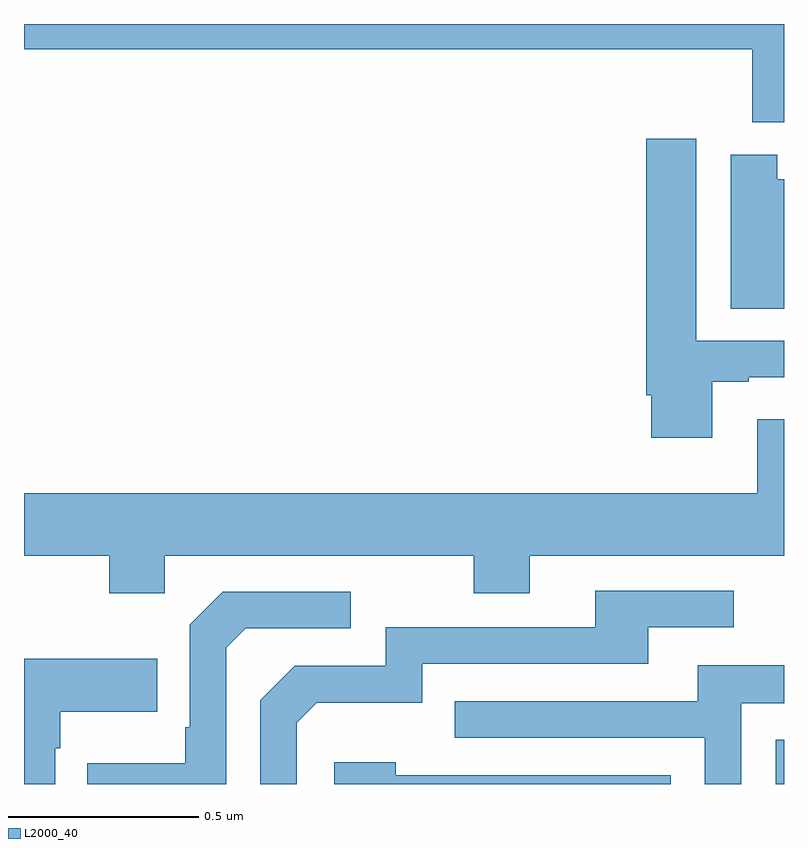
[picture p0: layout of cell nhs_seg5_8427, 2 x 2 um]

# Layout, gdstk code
import gdstk
lib = gdstk.Library(unit=1e-6, precision=1e-09)
def R(c, l, rs):  # rectangles x0, y0, x1, y1
    for r in rs: c.add(gdstk.rectangle(r[:2], r[2:], *l))
def P(c, l, *ps):  # polygons
    for p in ps: c.add(gdstk.Polygon(p, *l))
L2000_40 = (2000, 40)

nhs_seg5_8427 = lib.new_cell('nhs_seg5_8427')
R(nhs_seg5_8427, L2000_40, [(222.978,882.799,223,882.916)])
P(nhs_seg5_8427, L2000_40, [(223,884.799),(221,884.799),(221,884.732),(222.917,884.732),(222.917,884.54),(223,884.54)],
  [(222.811,883.857),(222.907,883.857),(222.907,883.869),(223,883.869),(223,883.965),(222.769,883.965),(222.769,884.497),(222.638,884.497),(222.638,883.822),(222.65,883.822),(222.65,883.71),(222.811,883.71)],
  [(223,884.391),(222.982,884.391),(222.982,884.455),(222.86,884.455),(222.86,884.05),(223,884.05)],
  [(221.37,883.4),(222.184,883.4),(222.184,883.301),(222.331,883.301),(222.331,883.4),(223,883.4),(223,883.759),(222.929,883.759),(222.929,883.564),(221,883.564),(221,883.4),(221.224,883.4),(221.224,883.301),(221.37,883.301)],
  [(221.718,882.96),(221.771,883.013),(222.048,883.013),(222.048,883.116),(222.643,883.116),(222.643,883.212),(222.868,883.212),(222.868,883.308),(222.503,883.308),(222.503,883.212),(221.952,883.212),(221.952,883.11),(221.712,883.11),(221.622,883.02),(221.622,882.799),(221.718,882.799)],
  [(221.532,883.158),(221.583,883.209),(221.86,883.209),(221.86,883.305),(221.523,883.305),(221.436,883.218),(221.436,882.949),(221.424,882.949),(221.424,882.853),(221.167,882.853),(221.167,882.799),(221.532,882.799)],
  [(221.082,882.893),(221.095,882.893),(221.095,882.989),(221.351,882.989),(221.351,883.129),(221,883.129),(221,882.799),(221.082,882.799)],
  [(222.888,883.011),(223,883.011),(223,883.111),(222.773,883.111),(222.773,883.017),(222.133,883.017),(222.133,882.921),(222.792,882.921),(222.792,882.799),(222.888,882.799)],
  [(222.702,882.822),(221.978,882.822),(221.978,882.856),(221.817,882.856),(221.817,882.799),(222.702,882.799)])

lib.write_gds('nhs_seg5_8427.gds')
